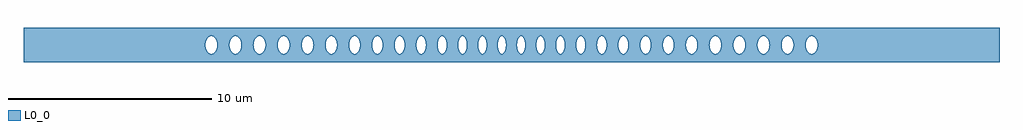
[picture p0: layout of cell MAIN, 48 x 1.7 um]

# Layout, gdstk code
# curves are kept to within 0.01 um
import gdstk
lib = gdstk.Library(unit=1e-6, precision=1e-09)
def P(c, l, *ps):  # polygons
    for p in ps: c.add(gdstk.Polygon(p, *l))
L0_0 = (0, 0)

main = lib.new_cell('MAIN')
P(main, L0_0, [(-14.835,-0.434),(-14.919,-0.38),(-14.997,-0.272),(-14.997,-0.85),(-14.835,-0.85)],
  [(-14.827,0.437),(-14.741,0.448),(-14.648,0.416),(-14.561,0.334),(-14.5,0.217),(-14.5,0.85),(-14.835,0.85)],
  [(-14.5,-0.217),(-14.561,-0.334),(-14.648,-0.416),(-14.741,-0.448),(-14.835,-0.434),(-14.835,-0.85),(-14.5,-0.85)],
  [(24,0.85),(14.997,0.85),(14.997,0.272),(15.037,0.169),(15.058,0.036),(15.046,-0.13),(14.997,-0.272),(14.997,-0.85),(24,-0.85)],
  [(-13.781,0.326),(-13.699,0.409),(-13.604,0.447),(-13.505,0.436),(-13.421,0.383),(-13.421,0.85),(-13.784,0.85)],
  [(-13.421,-0.383),(-13.517,-0.44),(-13.616,-0.445),(-13.71,-0.401),(-13.784,-0.321),(-13.784,-0.85),(-13.421,-0.85)],
  [(-13.874,0.006),(-13.846,0.191),(-13.784,0.321),(-13.784,0.85),(-14.5,0.85),(-14.5,0.217),(-14.47,0.101),(-14.463,0)],
  [(-12.677,0.13),(-12.631,0.268),(-12.566,0.364),(-12.477,0.43),(-12.384,0.448),(-12.384,0.85),(-12.678,0.85)],
  [(-12.384,-0.448),(-12.477,-0.43),(-12.566,-0.364),(-12.631,-0.268),(-12.678,-0.124),(-12.678,-0.85),(-12.384,-0.85)],
  [(-12.101,0.85),(-12.384,0.85),(-12.384,0.448),(-12.279,0.416),(-12.198,0.342),(-12.145,0.253),(-12.101,0.101)],
  [(-12.101,-0.101),(-12.145,-0.253),(-12.198,-0.342),(-12.279,-0.416),(-12.384,-0.448),(-12.384,-0.85),(-12.101,-0.85)],
  [(-12.689,0.006),(-12.678,0.85),(-13.421,0.85),(-13.421,0.383),(-13.365,0.317),(-13.317,0.223),(-13.278,0)],
  [(-11.34,0.401),(-11.246,0.445),(-11.148,0.44),(-11.07,0.398),(-10.989,0.304),(-10.989,0.85),(-11.347,0.85)],
  [(-10.989,-0.304),(-11.07,-0.398),(-11.148,-0.44),(-11.246,-0.445),(-11.347,-0.395),(-11.347,-0.85),(-10.989,-0.85)],
  [(-11.503,0.006),(-11.487,0.147),(-11.454,0.248),(-11.411,0.326),(-11.347,0.395),(-11.347,0.85),(-12.101,0.85),(-12.094,0)],
  [(-10.272,0.243),(-10.216,0.342),(-10.137,0.416),(-10.031,0.449),(-9.939,0.428),(-9.939,0.85),(-10.274,0.85)],
  [(-9.939,-0.428),(-10.031,-0.449),(-10.137,-0.416),(-10.216,-0.342),(-10.274,-0.238),(-10.274,-0.85),(-9.939,-0.85)],
  [(-10.318,0.006),(-10.306,0.13),(-10.274,0.238),(-10.274,0.85),(-10.989,0.85),(-10.989,0.304),(-10.928,0.152),(-10.911,0)],
  [(-9.143,0.024),(-9.126,0.158),(-9.079,0.286),(-9.008,0.383),(-8.921,0.438),(-8.921,0.85),(-9.143,0.85)],
  [(-8.921,-0.438),(-9.008,-0.383),(-9.079,-0.286),(-9.126,-0.158),(-9.143,-0.018),(-9.143,-0.85),(-8.921,-0.85)],
  [(-8.913,0.441),(-8.823,0.445),(-8.74,0.406),(-8.666,0.326),(-8.608,0.202),(-8.608,0.85),(-8.921,0.85)],
  [(-8.608,-0.202),(-8.655,-0.309),(-8.74,-0.406),(-8.834,-0.447),(-8.921,-0.438),(-8.921,-0.85),(-8.608,-0.85)],
  [(-9.144,0.006),(-9.143,0.85),(-9.939,0.85),(-9.939,0.428),(-9.857,0.364),(-9.791,0.263),(-9.752,0.147),(-9.736,0)],
  [(-7.894,0.338),(-7.817,0.416),(-7.733,0.448),(-7.636,0.43),(-7.564,0.374),(-7.564,0.85),(-7.897,0.85)],
  [(-7.564,-0.374),(-7.636,-0.43),(-7.733,-0.448),(-7.817,-0.416),(-7.897,-0.334),(-7.897,-0.85),(-7.564,-0.85)],
  [(-7.988,0.006),(-7.962,0.191),(-7.897,0.334),(-7.897,0.85),(-8.608,0.85),(-8.608,0.202),(-8.578,0)],
  [(-6.841,0.147),(-6.8,0.277),(-6.733,0.38),(-6.663,0.433),(-6.576,0.448),(-6.576,0.85),(-6.842,0.85)],
  [(-6.576,-0.448),(-6.663,-0.433),(-6.747,-0.364),(-6.804,-0.268),(-6.842,-0.141),(-6.842,-0.85),(-6.576,-0.85)],
  [(-6.336,0.85),(-6.576,0.85),(-6.576,0.448),(-6.485,0.409),(-6.421,0.338),(-6.366,0.223),(-6.336,0.083)],
  [(-6.336,-0.083),(-6.366,-0.223),(-6.421,-0.338),(-6.485,-0.409),(-6.576,-0.448),(-6.576,-0.85),(-6.336,-0.85)],
  [(-6.855,0.006),(-6.842,0.141),(-6.842,0.85),(-7.564,0.85),(-7.564,0.374),(-7.477,0.223),(-7.441,0)],
  [(-5.605,0.409),(-5.525,0.447),(-5.442,0.436),(-5.363,0.374),(-5.311,0.291),(-5.311,0.85),(-5.611,0.85)],
  [(-5.311,-0.291),(-5.38,-0.392),(-5.452,-0.44),(-5.535,-0.445),(-5.611,-0.403),(-5.611,-0.85),(-5.311,-0.85)],
  [(-5.751,0.006),(-5.744,0.112),(-5.712,0.243),(-5.664,0.342),(-5.611,0.403),(-5.611,0.85),(-6.336,0.85),(-6.332,0)],
  [(-4.635,0.258),(-4.577,0.367),(-4.509,0.43),(-4.437,0.449),(-4.359,0.422),(-4.359,0.85),(-4.636,0.85)],
  [(-4.359,-0.422),(-4.437,-0.449),(-4.509,-0.43),(-4.577,-0.367),(-4.636,-0.253),(-4.636,-0.85),(-4.359,-0.85)],
  [(-4.678,0.006),(-4.668,0.13),(-4.636,0.253),(-4.636,0.85),(-5.311,0.85),(-5.311,0.291),(-5.266,0.152),(-5.252,0)],
  [(-3.635,0.042),(-3.613,0.196),(-3.573,0.309),(-3.511,0.401),(-3.448,0.442),(-3.448,0.85),(-3.635,0.85)],
  [(-3.448,-0.442),(-3.511,-0.401),(-3.573,-0.309),(-3.618,-0.174),(-3.635,-0.036),(-3.635,-0.85),(-3.448,-0.85)],
  [(-3.442,0.444),(-3.372,0.443),(-3.301,0.395),(-3.252,0.326),(-3.202,0.185),(-3.202,0.85),(-3.448,0.85)],
  [(-3.202,-0.185),(-3.252,-0.326),(-3.301,-0.395),(-3.378,-0.445),(-3.448,-0.442),(-3.448,-0.85),(-3.202,-0.85)],
  [(-3.635,0.006),(-3.635,0.85),(-4.359,0.85),(-4.359,0.422),(-4.295,0.357),(-4.241,0.248),(-4.209,0.112),(-4.202,0)],
  [(-2.54,0.353),(-2.48,0.422),(-2.409,0.449),(-2.343,0.43),(-2.277,0.36),(-2.277,0.85),(-2.542,0.85)],
  [(-2.277,-0.36),(-2.343,-0.43),(-2.409,-0.449),(-2.488,-0.416),(-2.542,-0.349),(-2.542,-0.85),(-2.277,-0.85)],
  [(-2.623,0.006),(-2.599,0.207),(-2.542,0.349),(-2.542,0.85),(-3.202,0.85),(-3.202,0.185),(-3.182,0)],
  [(-1.623,0.169),(-1.581,0.309),(-1.533,0.389),(-1.468,0.441),(-1.404,0.445),(-1.404,0.85),(-1.624,0.85)],
  [(-1.404,-0.445),(-1.468,-0.441),(-1.533,-0.389),(-1.592,-0.282),(-1.624,-0.163),(-1.624,-0.85),(-1.404,-0.85)],
  [(-1.222,0.85),(-1.404,0.85),(-1.404,0.445),(-1.342,0.409),(-1.285,0.326),(-1.243,0.207),(-1.222,0.06)],
  [(-1.222,-0.06),(-1.243,-0.207),(-1.285,-0.326),(-1.342,-0.409),(-1.404,-0.445),(-1.404,-0.85),(-1.222,-0.85)],
  [(-1.638,0.006),(-1.624,0.163),(-1.624,0.85),(-2.277,0.85),(-2.277,0.36),(-2.213,0.207),(-2.189,0)],
  [(-0.546,0.418),(-0.475,0.449),(-0.413,0.43),(-0.352,0.364),(-0.31,0.272),(-0.31,0.85),(-0.551,0.85)],
  [(-0.31,-0.272),(-0.352,-0.364),(-0.423,-0.436),(-0.491,-0.447),(-0.551,-0.413),(-0.551,-0.85),(-0.31,-0.85)],
  [(-0.676,0.006),(-0.665,0.147),(-0.636,0.268),(-0.596,0.357),(-0.551,0.413),(-0.551,0.85),(-1.222,0.85),(-1.22,0)],
  [(0.311,0.277),(0.361,0.377),(0.423,0.436),(0.491,0.447),(0.551,0.413),(0.551,0.85),(0.31,0.85)],
  [(0.551,-0.413),(0.491,-0.447),(0.423,-0.436),(0.352,-0.364),(0.31,-0.272),(0.31,-0.85),(0.551,-0.85)],
  [(0.268,0.006),(0.277,0.135),(0.31,0.272),(0.31,0.85),(-0.31,0.85),(-0.31,0.272),(-0.277,0.135),(-0.268,0)],
  [(1.222,0.065),(1.243,0.207),(1.285,0.326),(1.342,0.409),(1.404,0.445),(1.404,0.85),(1.222,0.85)],
  [(1.404,-0.445),(1.342,-0.409),(1.285,-0.326),(1.243,-0.207),(1.222,-0.06),(1.222,-0.85),(1.404,-0.85)],
  [(1.409,0.447),(1.484,0.433),(1.54,0.38),(1.592,0.282),(1.624,0.163),(1.624,0.85),(1.404,0.85)],
  [(1.624,-0.163),(1.592,-0.282),(1.533,-0.389),(1.468,-0.441),(1.404,-0.445),(1.404,-0.85),(1.624,-0.85)],
  [(1.22,0.006),(1.222,0.85),(0.551,0.85),(0.551,0.413),(0.596,0.357),(0.636,0.268),(0.665,0.147),(0.676,0)],
  [(2.281,0.367),(2.343,0.43),(2.409,0.449),(2.488,0.416),(2.542,0.349),(2.542,0.85),(2.277,0.85)],
  [(2.542,-0.349),(2.488,-0.416),(2.409,-0.449),(2.343,-0.43),(2.277,-0.36),(2.277,-0.85),(2.542,-0.85)],
  [(2.189,0.006),(2.213,0.207),(2.277,0.36),(2.277,0.85),(1.624,0.85),(1.624,0.163),(1.638,0)],
  [(3.202,0.185),(3.252,0.326),(3.301,0.395),(3.372,0.443),(3.445,0.443),(3.445,0.85),(3.201,0.85)],
  [(3.445,-0.443),(3.378,-0.445),(3.301,-0.395),(3.244,-0.309),(3.201,-0.18),(3.201,-0.85),(3.445,-0.85)],
  [(3.635,0.85),(3.445,0.85),(3.445,0.443),(3.511,0.401),(3.565,0.326),(3.613,0.196),(3.635,0.042)],
  [(3.635,-0.042),(3.613,-0.196),(3.565,-0.326),(3.511,-0.401),(3.445,-0.443),(3.445,-0.85),(3.635,-0.85)],
  [(3.182,0.006),(3.201,0.18),(3.201,0.85),(2.542,0.85),(2.542,0.349),(2.599,0.207),(2.623,0)],
  [(4.362,0.424),(4.437,0.449),(4.509,0.43),(4.577,0.367),(4.635,0.258),(4.635,0.85),(4.356,0.85)],
  [(4.635,-0.258),(4.577,-0.367),(4.509,-0.43),(4.437,-0.449),(4.356,-0.42),(4.356,-0.85),(4.635,-0.85)],
  [(4.202,0.006),(4.241,0.248),(4.295,0.357),(4.356,0.42),(4.356,0.85),(3.635,0.85),(3.635,0)],
  [(5.311,0.291),(5.38,0.392),(5.452,0.44),(5.535,0.445),(5.608,0.406),(5.608,0.85),(5.309,0.85)],
  [(5.608,-0.406),(5.525,-0.447),(5.442,-0.436),(5.363,-0.374),(5.309,-0.286),(5.309,-0.85),(5.608,-0.85)],
  [(5.252,0.006),(5.266,0.152),(5.309,0.286),(5.309,0.85),(4.635,0.85),(4.635,0.258),(4.668,0.13),(4.678,0)],
  [(6.336,0.083),(6.366,0.223),(6.421,0.338),(6.485,0.409),(6.573,0.447),(6.573,0.85),(6.336,0.85)],
  [(6.573,-0.447),(6.485,-0.409),(6.421,-0.338),(6.366,-0.223),(6.336,-0.077),(6.336,-0.85),(6.573,-0.85)],
  [(6.58,0.448),(6.673,0.428),(6.747,0.364),(6.804,0.268),(6.841,0.147),(6.841,0.85),(6.573,0.85)],
  [(6.841,-0.147),(6.8,-0.277),(6.733,-0.38),(6.656,-0.436),(6.573,-0.447),(6.573,-0.85),(6.841,-0.85)],
  [(6.332,0.006),(6.336,0.85),(5.608,0.85),(5.608,0.406),(5.664,0.342),(5.712,0.243),(5.744,0.112),(5.752,0)],
  [(7.567,0.377),(7.65,0.436),(7.733,0.448),(7.817,0.416),(7.894,0.338),(7.894,0.85),(7.561,0.85)],
  [(7.894,-0.338),(7.817,-0.416),(7.733,-0.448),(7.636,-0.43),(7.561,-0.37),(7.561,-0.85),(7.894,-0.85)],
  [(7.442,0.006),(7.477,0.223),(7.561,0.37),(7.561,0.85),(6.841,0.85),(6.841,0.147),(6.856,0)],
  [(8.608,0.202),(8.655,0.309),(8.74,0.406),(8.834,0.447),(8.921,0.438),(8.921,0.85),(8.606,0.85)],
  [(8.921,-0.438),(8.834,-0.447),(8.74,-0.406),(8.655,-0.309),(8.606,-0.196),(8.606,-0.85),(8.921,-0.85)],
  [(9.143,0.85),(8.921,0.85),(8.921,0.438),(9.008,0.383),(9.079,0.286),(9.126,0.158),(9.143,0.018)],
  [(9.143,-0.018),(9.126,-0.158),(9.079,-0.286),(9.008,-0.383),(8.921,-0.438),(8.921,-0.85),(9.143,-0.85)],
  [(8.578,0.006),(8.606,0.196),(8.606,0.85),(7.894,0.85),(7.894,0.338),(7.962,0.191),(7.988,0)],
  [(9.947,0.431),(10.046,0.448),(10.137,0.416),(10.216,0.342),(10.274,0.238),(10.274,0.85),(9.939,0.85)],
  [(10.274,-0.238),(10.216,-0.342),(10.137,-0.416),(10.031,-0.449),(9.939,-0.428),(9.939,-0.85),(10.274,-0.85)],
  [(9.736,0.006),(9.752,0.147),(9.791,0.263),(9.857,0.364),(9.939,0.428),(9.939,0.85),(9.143,0.85),(9.144,0)],
  [(10.992,0.309),(11.07,0.398),(11.168,0.445),(11.266,0.44),(11.347,0.395),(11.347,0.85),(10.989,0.85)],
  [(11.347,-0.395),(11.246,-0.445),(11.148,-0.44),(11.07,-0.398),(10.989,-0.304),(10.989,-0.85),(11.347,-0.85)],
  [(10.911,0.006),(10.928,0.152),(10.989,0.304),(10.989,0.85),(10.274,0.85),(10.274,0.238),(10.306,0.13),(10.318,0)],
  [(12.102,0.106),(12.145,0.253),(12.207,0.353),(12.29,0.422),(12.384,0.448),(12.384,0.85),(12.101,0.85)],
  [(12.384,-0.448),(12.279,-0.416),(12.198,-0.342),(12.145,-0.253),(12.101,-0.101),(12.101,-0.85),(12.384,-0.85)],
  [(12.391,0.449),(12.477,0.43),(12.566,0.364),(12.631,0.268),(12.678,0.124),(12.678,0.85),(12.384,0.85)],
  [(12.678,-0.124),(12.631,-0.268),(12.566,-0.364),(12.477,-0.43),(12.384,-0.448),(12.384,-0.85),(12.678,-0.85)],
  [(12.094,0.006),(12.101,0.85),(11.347,0.85),(11.347,0.395),(11.411,0.326),(11.464,0.223),(11.503,0)],
  [(13.428,0.389),(13.517,0.44),(13.616,0.445),(13.71,0.401),(13.784,0.321),(13.784,0.85),(13.421,0.85)],
  [(13.784,-0.321),(13.71,-0.401),(13.616,-0.445),(13.517,-0.44),(13.421,-0.383),(13.421,-0.85),(13.784,-0.85)],
  [(13.278,0.006),(13.317,0.223),(13.365,0.317),(13.421,0.383),(13.421,0.85),(12.678,0.85),(12.689,0)],
  [(14.502,0.223),(14.567,0.342),(14.648,0.416),(14.741,0.448),(14.835,0.434),(14.835,0.85),(14.5,0.85)],
  [(14.835,-0.434),(14.741,-0.448),(14.648,-0.416),(14.561,-0.334),(14.5,-0.217),(14.5,-0.85),(14.835,-0.85)],
  [(-14.997,-0.272),(-15.037,-0.169),(-15.058,-0.036),(-15.046,0.13),(-14.997,0.272),(-14.997,0.85),(-24,0.85),(-24,-0.85),(-14.997,-0.85)],
  [(-14.995,0.277),(-14.919,0.38),(-14.835,0.434),(-14.835,0.85),(-14.997,0.85)],
  [(14.997,0.85),(14.835,0.85),(14.835,0.434),(14.919,0.38),(14.997,0.272)],
  [(14.997,-0.272),(14.935,-0.364),(14.835,-0.434),(14.835,-0.85),(14.997,-0.85)],
  [(-13.784,-0.321),(-13.846,-0.191),(-13.874,0),(-14.463,0),(-14.47,-0.101),(-14.5,-0.217),(-14.5,-0.85),(-13.784,-0.85)],
  [(-12.678,-0.124),(-12.689,0),(-13.278,0),(-13.317,-0.223),(-13.365,-0.317),(-13.421,-0.383),(-13.421,-0.85),(-12.678,-0.85)],
  [(-11.347,-0.395),(-11.411,-0.326),(-11.464,-0.223),(-11.503,0),(-12.094,0),(-12.101,-0.85),(-11.347,-0.85)],
  [(-10.274,-0.238),(-10.306,-0.13),(-10.318,0),(-10.911,0),(-10.928,-0.152),(-10.989,-0.304),(-10.989,-0.85),(-10.274,-0.85)],
  [(-9.143,-0.018),(-9.144,0),(-9.736,0),(-9.752,-0.147),(-9.791,-0.263),(-9.857,-0.364),(-9.939,-0.428),(-9.939,-0.85),(-9.143,-0.85)],
  [(-7.897,-0.334),(-7.965,-0.18),(-7.988,0),(-8.578,0),(-8.608,-0.202),(-8.608,-0.85),(-7.897,-0.85)],
  [(-6.842,-0.141),(-6.856,0),(-7.441,0),(-7.477,-0.223),(-7.564,-0.374),(-7.564,-0.85),(-6.842,-0.85)],
  [(-5.611,-0.403),(-5.674,-0.326),(-5.719,-0.223),(-5.752,0),(-6.332,0),(-6.336,-0.85),(-5.611,-0.85)],
  [(-4.636,-0.253),(-4.67,-0.118),(-4.678,0),(-5.252,0),(-5.266,-0.152),(-5.311,-0.291),(-5.311,-0.85),(-4.636,-0.85)],
  [(-3.635,-0.036),(-3.635,0),(-4.202,0),(-4.209,-0.112),(-4.241,-0.248),(-4.295,-0.357),(-4.359,-0.422),(-4.359,-0.85),(-3.635,-0.85)],
  [(-2.542,-0.349),(-2.599,-0.207),(-2.623,0),(-3.182,0),(-3.202,-0.185),(-3.202,-0.85),(-2.542,-0.85)],
  [(-1.624,-0.163),(-1.638,0),(-2.189,0),(-2.213,-0.207),(-2.277,-0.36),(-2.277,-0.85),(-1.624,-0.85)],
  [(-0.551,-0.413),(-0.596,-0.357),(-0.636,-0.268),(-0.665,-0.147),(-0.676,0),(-1.22,0),(-1.222,-0.85),(-0.551,-0.85)],
  [(0.31,-0.272),(0.277,-0.135),(0.268,0),(-0.268,0),(-0.277,-0.135),(-0.31,-0.272),(-0.31,-0.85),(0.31,-0.85)],
  [(1.222,-0.06),(1.22,0),(0.676,0),(0.665,-0.147),(0.636,-0.268),(0.596,-0.357),(0.551,-0.413),(0.551,-0.85),(1.222,-0.85)],
  [(2.277,-0.36),(2.213,-0.207),(2.189,0),(1.638,0),(1.624,-0.163),(1.624,-0.85),(2.277,-0.85)],
  [(3.201,-0.18),(3.182,0),(2.623,0),(2.599,-0.207),(2.542,-0.349),(2.542,-0.85),(3.201,-0.85)],
  [(4.356,-0.42),(4.295,-0.357),(4.241,-0.248),(4.209,-0.112),(4.202,0),(3.635,0),(3.635,-0.85),(4.356,-0.85)],
  [(5.309,-0.286),(5.265,-0.147),(5.252,0),(4.678,0),(4.67,-0.118),(4.635,-0.258),(4.635,-0.85),(5.309,-0.85)],
  [(6.336,-0.077),(6.332,0),(5.752,0),(5.744,-0.112),(5.712,-0.243),(5.664,-0.342),(5.608,-0.406),(5.608,-0.85),(6.336,-0.85)],
  [(7.561,-0.37),(7.477,-0.223),(7.441,0),(6.856,0),(6.841,-0.147),(6.841,-0.85),(7.561,-0.85)],
  [(8.606,-0.196),(8.578,0),(7.988,0),(7.962,-0.191),(7.894,-0.338),(7.894,-0.85),(8.606,-0.85)],
  [(9.939,-0.428),(9.857,-0.364),(9.791,-0.263),(9.752,-0.147),(9.736,0),(9.144,0),(9.143,-0.85),(9.939,-0.85)],
  [(10.989,-0.304),(10.928,-0.152),(10.911,0),(10.318,0),(10.306,-0.13),(10.274,-0.238),(10.274,-0.85),(10.989,-0.85)],
  [(12.101,-0.101),(12.094,0),(11.503,0),(11.464,-0.223),(11.411,-0.326),(11.347,-0.395),(11.347,-0.85),(12.101,-0.85)],
  [(13.421,-0.383),(13.365,-0.317),(13.317,-0.223),(13.278,0),(12.689,0),(12.678,-0.85),(13.421,-0.85)],
  [(14.5,-0.217),(14.47,-0.101),(14.463,0),(13.874,0),(13.846,-0.191),(13.784,-0.321),(13.784,-0.85),(14.5,-0.85)],
  [(14.463,0.006),(14.5,0.217),(14.5,0.85),(13.784,0.85),(13.784,0.321),(13.846,0.191),(13.874,0)])

lib.write_gds('MAIN.gds')
